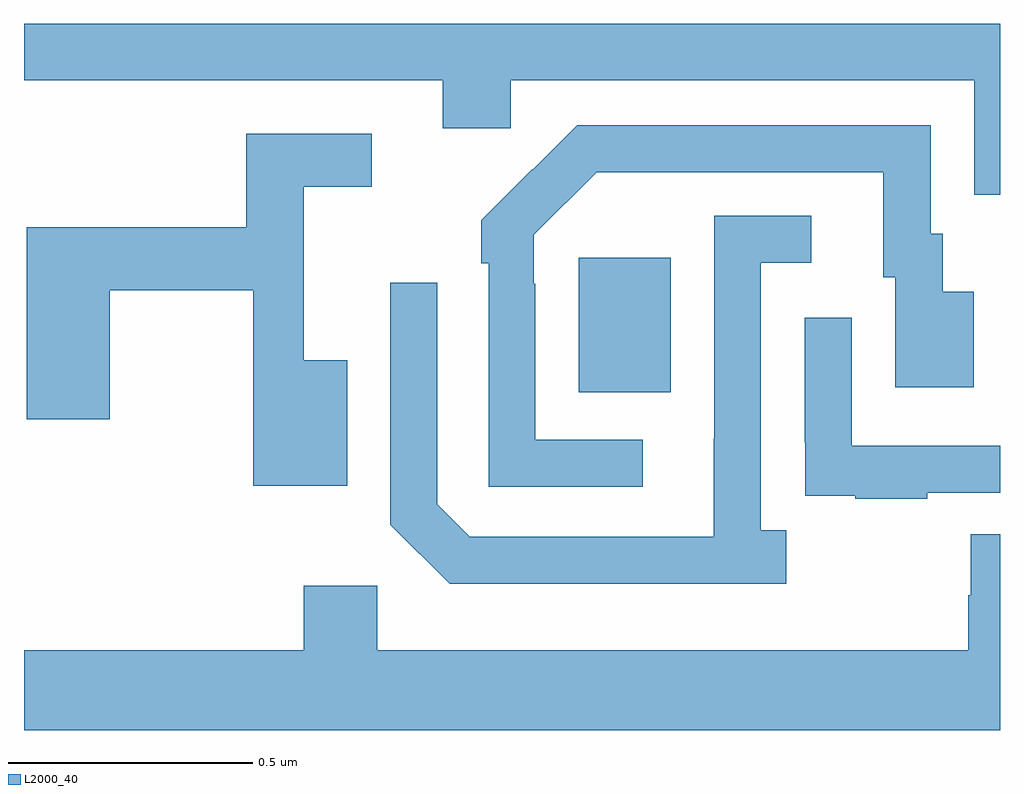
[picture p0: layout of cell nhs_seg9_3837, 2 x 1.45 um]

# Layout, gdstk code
import gdstk
lib = gdstk.Library(unit=1e-6, precision=1e-09)
def R(c, l, rs):  # rectangles x0, y0, x1, y1
    for r in rs: c.add(gdstk.rectangle(r[:2], r[2:], *l))
def P(c, l, *ps):  # polygons
    for p in ps: c.add(gdstk.Polygon(p, *l))
L2000_40 = (2000, 40)

nhs_seg9_3837 = lib.new_cell('nhs_seg9_3837')
R(nhs_seg9_3837, L2000_40, [(159.137,1231.745,159.325,1232.02)])
P(nhs_seg9_3837, L2000_40, [(160,1232.5),(158,1232.5),(158,1232.384),(158.858,1232.384),(158.858,1232.286),(158.997,1232.286),(158.997,1232.384),(159.947,1232.384),(159.947,1232.149),(160,1232.149)],
  [(159.268,1231.647),(159.048,1231.647),(159.048,1231.967),(159.045,1231.967),(159.045,1232.067),(159.174,1232.196),(159.761,1232.196),(159.761,1231.98),(159.785,1231.98),(159.785,1231.755),(159.946,1231.755),(159.946,1231.951),(159.883,1231.951),(159.883,1232.07),(159.858,1232.07),(159.858,1232.292),(159.134,1232.292),(159.043,1232.201),(159.042,1232.202),(158.937,1232.097),(158.937,1232.009),(158.952,1232.009),(158.952,1231.551),(159.268,1231.551)],
  [(158.662,1231.81),(158.573,1231.81),(158.573,1232.166),(158.713,1232.166),(158.713,1232.274),(158.455,1232.274),(158.455,1232.083),(158.006,1232.083),(158.006,1231.689),(158.176,1231.689),(158.176,1231.954),(158.47,1231.954),(158.47,1231.553),(158.662,1231.553)],
  [(159.562,1231.462),(159.51,1231.462),(159.51,1232.01),(159.613,1232.01),(159.613,1232.106),(159.414,1232.106),(159.414,1231.649),(159.413,1231.649),(159.413,1231.449),(158.913,1231.449),(158.847,1231.515),(158.847,1231.969),(158.751,1231.969),(158.751,1231.473),(158.872,1231.352),(159.562,1231.352)],
  [(159.851,1231.539),(160,1231.539),(160,1231.635),(159.696,1231.635),(159.696,1231.897),(159.6,1231.897),(159.6,1231.642),(159.601,1231.642),(159.601,1231.533),(159.703,1231.533),(159.703,1231.527),(159.851,1231.527)],
  [(160,1231.454),(159.94,1231.454),(159.94,1231.329),(159.935,1231.329),(159.935,1231.216),(158.724,1231.216),(158.724,1231.348),(158.573,1231.348),(158.573,1231.216),(158,1231.216),(158,1231.052),(160,1231.052)])

lib.write_gds('nhs_seg9_3837.gds')
